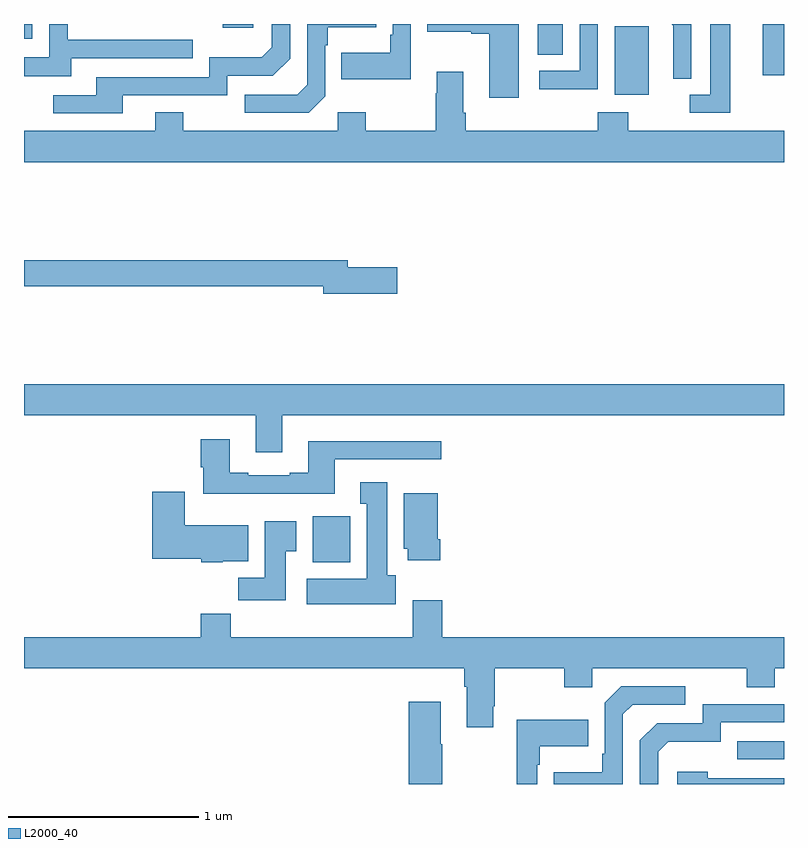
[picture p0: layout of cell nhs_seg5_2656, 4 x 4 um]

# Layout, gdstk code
import gdstk
lib = gdstk.Library(unit=1e-6, precision=1e-09)
def R(c, l, rs):  # rectangles x0, y0, x1, y1
    for r in rs: c.add(gdstk.rectangle(r[:2], r[2:], *l))
def P(c, l, *ps):  # polygons
    for p in ps: c.add(gdstk.Polygon(p, *l))
L2000_40 = (2000, 40)

nhs_seg5_2656 = lib.new_cell('nhs_seg5_2656')
R(nhs_seg5_2656, L2000_40, [(268.753,874.929,269,875.025), (266.519,875.966,266.716,876.208), (268.109,878.426,268.288,878.787), (268.889,878.529,269,878.799), (267.704,878.638,267.835,878.799), (265,878.721,265.044,878.799), (266.045,878.78,266.206,878.799)])
P(nhs_seg5_2656, L2000_40, [(265.519,878.424),(266.07,878.424),(266.07,878.526),(266.31,878.526),(266.4,878.616),(266.4,878.799),(266.304,878.799),(266.304,878.676),(266.251,878.623),(265.974,878.623),(265.974,878.52),(265.379,878.52),(265.379,878.424),(265.155,878.424),(265.155,878.328),(265.519,878.328)],
  [(265.249,878.619),(265.889,878.619),(265.889,878.715),(265.23,878.715),(265.23,878.799),(265.134,878.799),(265.134,878.625),(265,878.625),(265,878.525),(265.249,878.525)],
  [(267.604,878.799),(267.123,878.799),(267.123,878.759),(267.353,878.759),(267.353,878.747),(267.449,878.747),(267.449,878.412),(267.604,878.412)],
  [(268.717,878.799),(268.613,878.799),(268.613,878.427),(268.503,878.427),(268.503,878.331),(268.717,878.331)],
  [(266.586,878.418),(266.586,878.687),(266.599,878.687),(266.599,878.783),(266.855,878.783),(266.855,878.799),(266.49,878.799),(266.49,878.478),(266.439,878.427),(266.163,878.427),(266.163,878.331),(266.499,878.331)],
  [(267.036,878.799),(266.94,878.799),(266.94,878.743),(266.928,878.743),(266.928,878.647),(266.671,878.647),(266.671,878.507),(267.036,878.507)],
  [(268.512,878.799),(268.408,878.799),(268.418,878.789),(268.418,878.666),(268.416,878.666),(268.416,878.512),(268.512,878.512)],
  [(268.02,878.799),(267.924,878.799),(267.924,878.553),(267.711,878.553),(267.711,878.455),(268.02,878.455)],
  [(269,878.236),(268.179,878.236),(268.179,878.335),(268.019,878.335),(268.019,878.236),(267.326,878.236),(267.326,878.332),(267.313,878.332),(267.313,878.548),(267.173,878.548),(267.173,878.435),(267.166,878.435),(267.166,878.236),(266.799,878.236),(266.799,878.335),(266.652,878.335),(266.652,878.236),(265.839,878.236),(265.839,878.335),(265.691,878.335),(265.691,878.236),(265,878.236),(265,878.072),(269,878.072)],
  [(266.965,877.52),(266.704,877.52),(266.704,877.556),(265,877.556),(265,877.42),(266.576,877.42),(266.576,877.378),(266.965,877.378)],
  [(266.359,876.74),(269,876.74),(269,876.904),(265,876.904),(265,876.74),(266.219,876.74),(266.219,876.546),(266.359,876.546)],
  [(266.635,876.507),(267.196,876.507),(267.196,876.604),(266.495,876.604),(266.495,876.436),(266.399,876.436),(266.399,876.423),(266.179,876.423),(266.179,876.436),(266.083,876.436),(266.083,876.613),(265.931,876.613),(265.931,876.465),(265.943,876.465),(265.943,876.326),(266.635,876.326)],
  [(266.956,875.898),(266.911,875.898),(266.911,876.388),(266.771,876.388),(266.771,876.275),(266.804,876.275),(266.804,875.878),(266.487,875.878),(266.487,875.744),(266.956,875.744)],
  [(266.046,875.972),(266.179,875.972),(266.179,876.16),(265.846,876.16),(265.846,876.337),(265.676,876.337),(265.676,875.984),(265.932,875.984),(265.932,875.966),(266.046,875.966)],
  [(267.191,876.088),(267.178,876.088),(267.178,876.328),(266.999,876.328),(266.999,876.036),(267.02,876.036),(267.02,875.976),(267.191,875.976)],
  [(266.377,876.025),(266.434,876.025),(266.434,876.181),(266.267,876.181),(266.267,875.884),(266.128,875.884),(266.128,875.766),(266.377,875.766)],
  [(267.469,875.209),(267.477,875.209),(267.477,875.408),(267.844,875.408),(267.844,875.309),(267.99,875.309),(267.99,875.408),(268.804,875.408),(268.804,875.309),(268.951,875.309),(268.951,875.408),(269,875.408),(269,875.572),(267.2,875.572),(267.2,875.767),(267.047,875.767),(267.047,875.572),(266.087,875.572),(266.087,875.696),(265.931,875.696),(265.931,875.572),(265,875.572),(265,875.408),(267.317,875.408),(267.317,875.312),(267.329,875.312),(267.329,875.097),(267.469,875.097)],
  [(268.152,875.166),(268.203,875.217),(268.48,875.217),(268.48,875.313),(268.143,875.313),(268.056,875.226),(268.056,874.957),(268.044,874.957),(268.044,874.861),(267.787,874.861),(267.787,874.799),(268.152,874.799)],
  [(267.201,875.009),(267.193,875.009),(267.193,875.233),(267.026,875.233),(267.026,874.799),(267.201,874.799)],
  [(268.338,874.968),(268.391,875.021),(268.668,875.021),(268.668,875.124),(269,875.124),(269,875.22),(268.572,875.22),(268.572,875.118),(268.332,875.118),(268.242,875.028),(268.242,874.799),(268.338,874.799)],
  [(267.702,874.901),(267.715,874.901),(267.715,874.997),(267.971,874.997),(267.971,875.137),(267.594,875.137),(267.594,874.799),(267.702,874.799)],
  [(269,874.83),(268.598,874.83),(268.598,874.864),(268.437,874.864),(268.437,874.799),(269,874.799)])

lib.write_gds('nhs_seg5_2656.gds')
